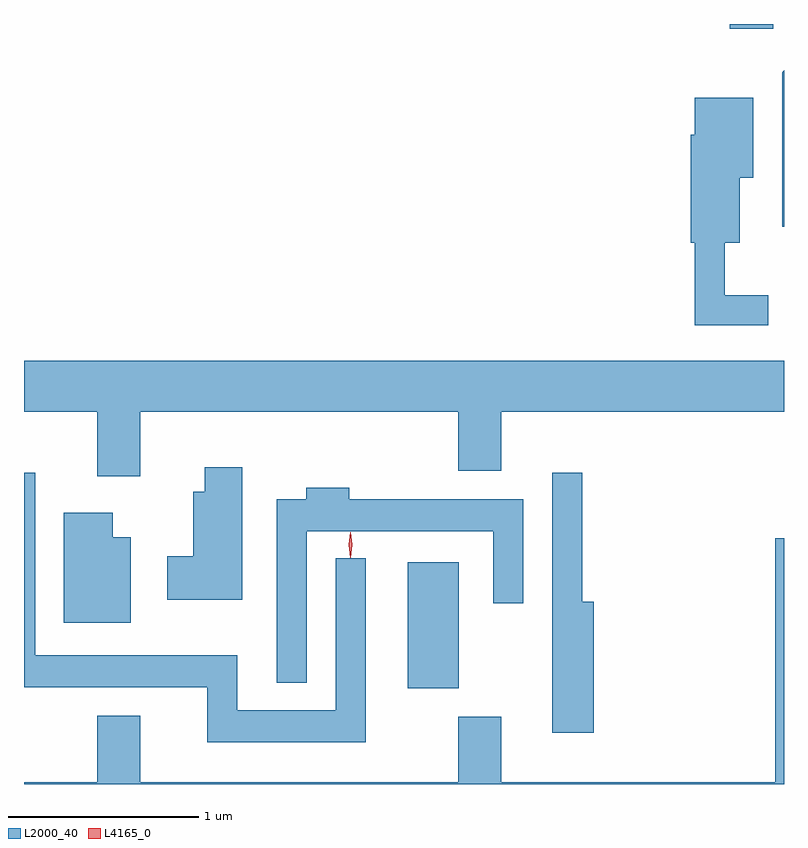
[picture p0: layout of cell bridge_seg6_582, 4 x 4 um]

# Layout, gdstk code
import gdstk
lib = gdstk.Library(unit=1e-6, precision=1e-09)
def R(c, l, rs):  # rectangles x0, y0, x1, y1
    for r in rs: c.add(gdstk.rectangle(r[:2], r[2:], *l))
def P(c, l, *ps):  # polygons
    for p in ps: c.add(gdstk.Polygon(p, *l))
L2000_40 = (2000, 40)
L4165_0 = (4165, 0)

bridge_seg6_582 = lib.new_cell('bridge_seg6_582')
R(bridge_seg6_582, L2000_40, [(545.296,1621.841,545.564,1622.504), (546.991,1625.311,547.219,1625.336)])
P(bridge_seg6_582, L2000_40, [(547.276,1625.092),(547.266,1625.082),(547.266,1624.268),(547.276,1624.268)],
  [(547.193,1623.909),(546.964,1623.909),(546.964,1624.186),(547.044,1624.186),(547.044,1624.526),(547.114,1624.526),(547.114,1624.949),(546.806,1624.949),(546.806,1624.754),(546.786,1624.754),(546.786,1624.186),(546.806,1624.186),(546.806,1623.751),(547.193,1623.751)],
  [(543.889,1623.296),(545.561,1623.296),(545.561,1622.986),(545.789,1622.986),(545.789,1623.296),(547.276,1623.296),(547.276,1623.564),(543.276,1623.564),(543.276,1623.296),(543.661,1623.296),(543.661,1622.956),(543.889,1622.956)],
  [(544.424,1623.004),(544.226,1623.004),(544.226,1622.874),(544.166,1622.874),(544.166,1622.534),(544.031,1622.534),(544.031,1622.306),(544.424,1622.306)],
  [(546.274,1622.294),(546.214,1622.294),(546.214,1622.973),(546.056,1622.973),(546.056,1621.606),(546.274,1621.606)],
  [(545.074,1622.523),(544.916,1622.523),(544.916,1621.724),(544.399,1621.724),(544.399,1622.014),(543.334,1622.014),(543.334,1622.973),(543.276,1622.973),(543.276,1621.846),(544.241,1621.846),(544.241,1621.556),(545.074,1621.556)],
  [(544.764,1622.666),(545.746,1622.666),(545.746,1622.288),(545.904,1622.288),(545.904,1622.834),(544.989,1622.834),(544.989,1622.894),(544.761,1622.894),(544.761,1622.834),(544.606,1622.834),(544.606,1621.868),(544.764,1621.868)],
  [(543.839,1622.634),(543.744,1622.634),(543.744,1622.764),(543.486,1622.764),(543.486,1622.186),(543.839,1622.186)],
  [(547.276,1622.629),(547.231,1622.629),(547.231,1621.344),(545.789,1621.344),(545.789,1621.689),(545.561,1621.689),(545.561,1621.344),(543.889,1621.344),(543.889,1621.694),(543.661,1621.694),(543.661,1621.344),(543.276,1621.344),(543.276,1621.336),(547.276,1621.336)])
P(bridge_seg6_582, L4165_0, [(544.994,1622.527),(544.994,1622.528),(544.984,1622.594),(544.994,1622.66),(544.994,1622.661),(544.995,1622.66),(545.004,1622.594),(544.995,1622.528)])

lib.write_gds('bridge_seg6_582.gds')
